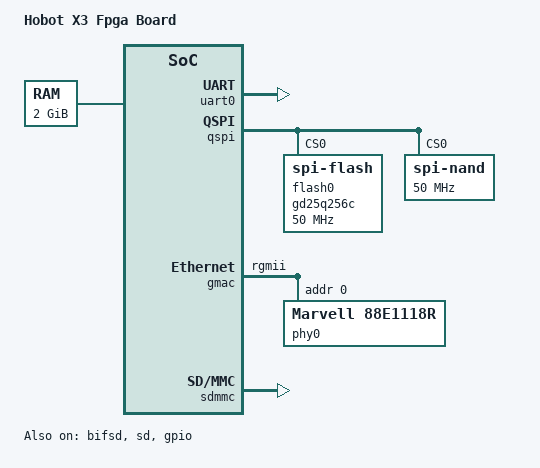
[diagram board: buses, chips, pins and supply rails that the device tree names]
/*
 * dts file for Hobot X3 FPGA
 *
 * (C) Copyright 2017 - 2018, Hobot, Inc.
 *
 * yu.xing <yu.xing@hobot.cc>
 *
 * SPDX-License-Identifier:	GPL-2.0+
 */

/dts-v1/;

#include "hobot-xj3.dtsi"

/ {
	model = "Hobot X3 Fpga Board";
	compatible = "hobot,x3-fpga";

	aliases {
		serial0 = &uart0;
		spi0	= &qspi;
		gmac0 = &gmac;
		bif	= &bifsd;
		mmc0    = &sdmmc;
		mmc1   = &sd;
	};

	chosen {
		bootargs = "";
		stdout-path = "serial0:115200n8";
	};

	memory@0 {
		device_type = "memory";
		reg = <0x0 0x0 0x0 0x80000000>;
	};

	gpio: gpio@a6003000 {
		compatible = "hobot,x2-gpio-1.0";
		status = "okay";
		#gpio-cells = <0x2>;
		reg = <0x0 0xa6003000 0x0 0x100>;
	};

	j2-leds {
		red-gpio = <62>;
		green-gpio = <61>;
	};
};

&uart0 {
	status = "okay";
};

&qspi {
	status = "okay";
	spi-max-frequency = <500000000>;
	#address-cells = <1>;
	#size-cells = <0>;

	flash0: gd25q256c@0 {
		u-boot,dm-pre-reloc;
		compatible = "spi-flash";
		reg = <0x0>;
		spi-tx-bus-width = <4>;
		spi-rx-bus-width = <4>;
		spi-max-frequency = <50000000>;
	};


	spi-nand@0 {
		#address-cells = <1>;
		#size-cells = <1>;
		compatible = "spi-nand";
		reg = <0x0>;
		spi-tx-bus-width = <4>;
		spi-rx-bus-width = <4>;
		spi-max-frequency = <50000000>;
	};

};

&gmac {
        status = "okay";
        #address-cells = <0x1>;
        #size-cells = <0x0>;
        phyaddr = <3>;

	phy-mode = "rgmii";
	phy0: ethernet-phy@0 {
		//compatible = "marvell,88E1512","ethernet-phy-ieee802.3-c22";
		compatible = "Marvell 88E1118R","ethernet-phy-ieee802.3-c22";
		reg = <0>;
	};
};
&bifsd {
	status = "okay";
	};
&sdmmc {
	status = "okay";
	};
&sd {
	status = "okay";
	};
